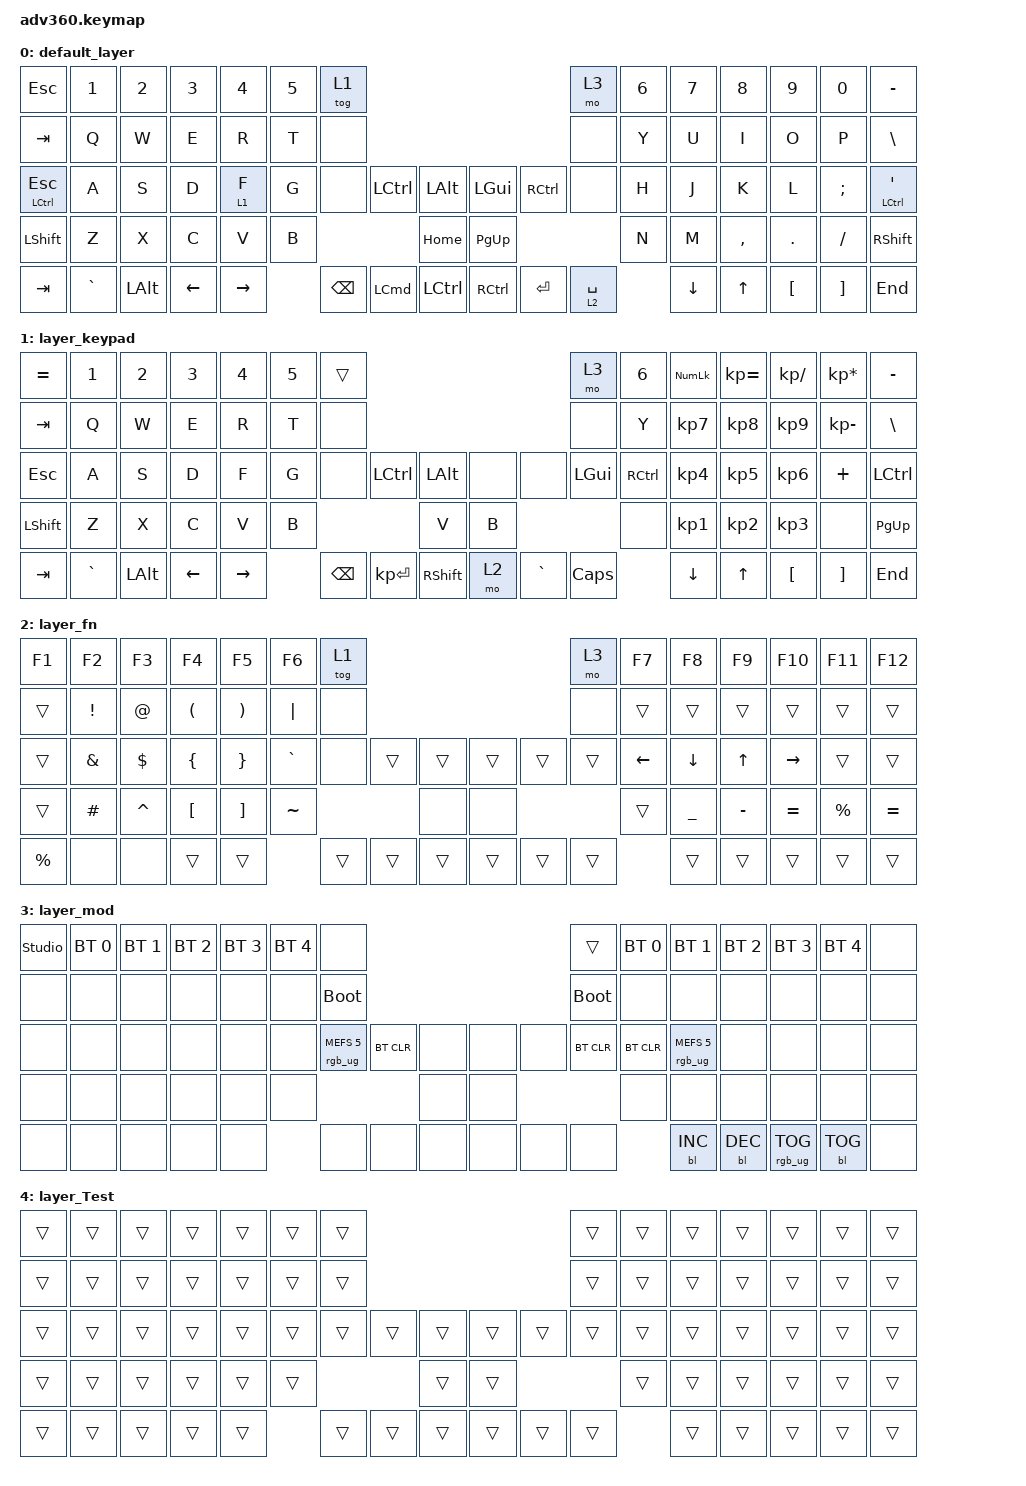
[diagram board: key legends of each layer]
#include <behaviors.dtsi>
#include <dt-bindings/zmk/keys.h>
#include <dt-bindings/zmk/bt.h>
#include <dt-bindings/zmk/rgb.h>
#include <dt-bindings/zmk/stp.h>
#include <dt-bindings/zmk/backlight.h>
#include <dt-bindings/zmk/pointing.h>

&mt {
    tapping-term-ms = <210>;
    flavor = "tap-preferred";
};

&lt { quick_tap_ms = <200>; };

/ {
    behaviors {
        #include "macros.dtsi"
        #include "version.dtsi"

        hm: homerow_mods {
            compatible = "zmk,behavior-hold-tap";
            label = "HOMEROW_MODS";
            #binding-cells = <2>;
            tapping-term-ms = <200>;
            quick_tap_ms = <175>;
            flavor = "tap-preferred";
            bindings = <&kp>, <&kp>;
        };
    };

    keymap {
        compatible = "zmk,keymap";

        default_layer {
            bindings = <
&kp ESCAPE     &kp N1     &kp N2    &kp N3    &kp N4     &kp N5  &tog 1                                                    &mo 3        &kp N6  &kp N7          &kp N8        &kp N9            &kp N0             &kp MINUS
&kp TAB        &kp Q      &kp W     &kp E     &kp R      &kp T   &none                                                     &none        &kp Y   &kp U           &kp I         &kp O             &kp P              &kp BSLH
&mt LCTRL ESC  &kp A      &kp S     &kp D     &lt 1 F    &kp G   &none     &kp LCTRL  &kp LALT       &kp LGUI   &kp RCTRL  &none        &kp H   &kp J           &kp K         &kp L             &kp SEMICOLON      &mt LCTRL SQT
&kp LSHFT      &kp Z      &kp X     &kp C     &kp V      &kp B                        &kp HOME       &kp PG_UP                          &kp N   &kp M           &kp COMMA     &kp DOT           &kp SLASH          &kp RSHFT
&kp TAB        &kp GRAVE  &kp LALT  &kp LEFT  &kp RIGHT          &kp BSPC  &kp LCMD   &kp LCTRL      &kp RCTRL  &kp ENTER  &lt 2 SPACE          &kp DOWN_ARROW  &kp UP_ARROW  &kp LEFT_BRACKET  &kp RIGHT_BRACKET  &kp END
            >;
        };

        layer_keypad {
            bindings = <
&kp EQUAL      &kp N1     &kp N2    &kp N3    &kp N4     &kp N5  &trans                                                    &mo 3        &kp N6     &kp KP_NUM     &kp KP_EQUAL   &kp KP_DIVIDE    &kp KP_MULTIPLY    &kp MINUS
&kp TAB        &kp Q      &kp W     &kp E     &kp R      &kp T   &none                                                     &none        &kp Y      &kp KP_N7      &kp KP_N8      &kp KP_N9        &kp KP_MINUS       &kp BSLH
&kp ESC        &kp A      &kp S     &kp D     &kp F      &kp G   &none     &kp LCTRL  &kp LALT       &none      &none      &kp LGUI     &kp RCTRL  &kp KP_N4      &kp KP_N5      &kp KP_N6        &kp PLUS           &kp LCTRL
&kp LSHIFT     &kp Z      &kp X     &kp C     &kp V      &kp B                        &kp V          &kp B                              &none      &kp KP_N1      &kp KP_N2      &kp KP_N3        &none              &kp PG_UP
&kp TAB        &kp GRAVE  &kp LALT  &kp LEFT  &kp RIGHT          &kp BSPC  &kp KP_ENTER  &kp RSHFT    &mo 2  &kp GRAVE  &kp CAPS                   &kp DOWN_ARROW &kp UP_ARROW   &kp LEFT_BRACKET &kp RIGHT_BRACKET  &kp END
            >;
        };

        layer_fn {
            bindings = <
&kp F1       &kp F2    &kp F3      &kp F4    &kp F5    &kp F6     &tog 1                                      &mo 3   &kp F7    &kp F8     &kp F9     &kp F10    &kp F11      &kp F12
&trans       &kp EXCL  &kp AT      &kp LPAR  &kp RPAR  &kp PIPE   &none                                       &none   &trans    &trans     &trans     &trans     &trans       &trans
&trans       &kp AMPS  &kp DOLLAR  &kp LBRC  &kp RBRC  &kp GRAVE  &none   &trans  &trans      &trans  &trans  &trans  &kp LEFT  &kp DOWN   &kp UP     &kp RIGHT  &trans       &trans
&trans       &kp HASH  &kp CARET   &kp LBKT  &kp RBKT  &kp TILDE                  &none       &none                   &trans    &kp UNDER  &kp MINUS  &kp EQUAL  &kp PERCENT  &kp EQUAL
&kp PERCENT  &none     &none       &trans    &trans               &trans  &trans  &trans      &trans  &trans  &trans            &trans     &trans     &trans     &trans       &trans
            >;
        };

        layer_mod {
            bindings = <
&studio_unlock  &bt BT_SEL 0  &bt BT_SEL 1  &bt BT_SEL 2  &bt BT_SEL 3  &bt BT_SEL 4  &none                                                        &trans       &bt BT_SEL 0  &bt BT_SEL 1            &bt BT_SEL 2  &bt BT_SEL 3     &bt BT_SEL 4  &none
&none  &none         &none         &none         &none         &none         &bootloader                                                  &bootloader  &none         &none                   &none         &none            &none         &none
&none  &none         &none         &none         &none         &none         &rgb_ug RGB_MEFS_CMD 5  &bt BT_CLR  &none      &none  &none  &bt BT_CLR   &bt BT_CLR    &rgb_ug RGB_MEFS_CMD 5  &none         &none            &none         &none
&none  &none         &none         &none         &none         &none                                             &none      &none                      &none         &none                   &none         &none            &none         &none
&none  &none         &none         &none         &none                       &none                   &none       &none      &none  &none  &none                      &bl BL_INC              &bl BL_DEC    &rgb_ug RGB_TOG  &bl BL_TOG    &none
            >;
        };

        layer_Test {
            bindings = <
&trans  &trans  &trans  &trans  &trans  &trans  &trans                                      &trans  &trans  &trans  &trans  &trans  &trans  &trans
&trans  &trans  &trans  &trans  &trans  &trans  &trans                                      &trans  &trans  &trans  &trans  &trans  &trans  &trans
&trans  &trans  &trans  &trans  &trans  &trans  &trans  &trans  &trans      &trans  &trans  &trans  &trans  &trans  &trans  &trans  &trans  &trans
&trans  &trans  &trans  &trans  &trans  &trans                  &trans      &trans                  &trans  &trans  &trans  &trans  &trans  &trans
&trans  &trans  &trans  &trans  &trans          &trans  &trans  &trans      &trans  &trans  &trans          &trans  &trans  &trans  &trans  &trans
            >;
        };
    };
};
